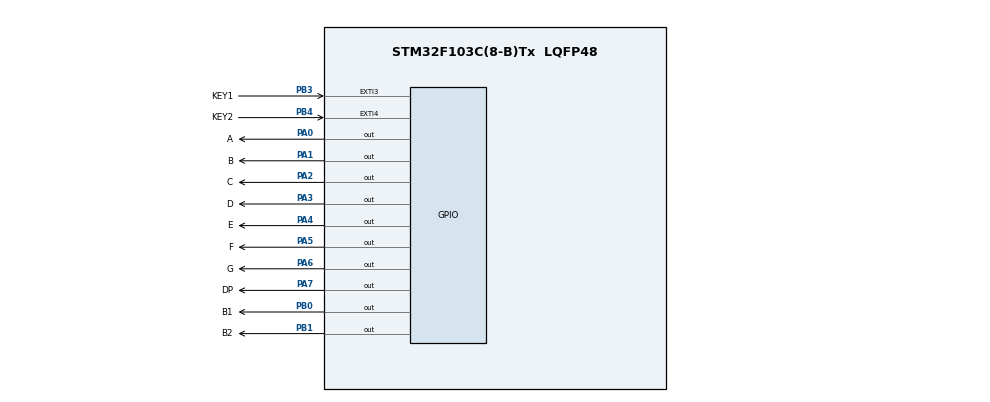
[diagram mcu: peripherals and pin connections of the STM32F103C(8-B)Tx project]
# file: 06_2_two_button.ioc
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Mcu.Family=STM32F1
Mcu.Name=STM32F103C(8-B)Tx
Mcu.Package=LQFP48
NVIC.EXTI3_IRQn=true\:5\:0\:false\:false\:true\:true\:true\:true
NVIC.EXTI4_IRQn=true\:5\:0\:false\:false\:true\:true\:true\:true
NVIC.PriorityGroup=NVIC_PRIORITYGROUP_4
NVIC.TIM2_IRQn=true\:0\:0\:false\:false\:true\:true\:true\:true
PA0-WKUP.GPIO_Label=A
PA0-WKUP.PinState=GPIO_PIN_SET
PA0-WKUP.Signal=GPIO_Output
PA1.GPIO_Label=B
PA1.PinState=GPIO_PIN_SET
PA1.Signal=GPIO_Output
PA2.GPIO_Label=C
PA2.PinState=GPIO_PIN_SET
PA2.Signal=GPIO_Output
PA3.GPIO_Label=D
PA3.PinState=GPIO_PIN_SET
PA3.Signal=GPIO_Output
PA4.GPIO_Label=E
PA4.PinState=GPIO_PIN_SET
PA4.Signal=GPIO_Output
PA5.GPIO_Label=F
PA5.PinState=GPIO_PIN_SET
PA5.Signal=GPIO_Output
PA6.GPIO_Label=G
PA6.PinState=GPIO_PIN_SET
PA6.Signal=GPIO_Output
PA7.GPIO_Label=DP
PA7.PinState=GPIO_PIN_SET
PA7.Signal=GPIO_Output
PB0.GPIO_Label=B1
PB0.PinState=GPIO_PIN_SET
PB0.Signal=GPIO_Output
PB1.GPIO_Label=B2
PB1.PinState=GPIO_PIN_SET
PB1.Signal=GPIO_Output
PB3.GPIO_Label=KEY1
PB3.GPIO_ModeDefaultEXTI=GPIO_MODE_IT_RISING_FALLING
PB3.GPIO_PuPd=GPIO_PULLUP
PB3.Signal=GPXTI3
PB4.GPIO_Label=KEY2
PB4.GPIO_ModeDefaultEXTI=GPIO_MODE_IT_RISING_FALLING
PB4.GPIO_PuPd=GPIO_PULLUP
PB4.Signal=GPXTI4
PC14-OSC32_IN.Mode=LSE-External-Oscillator
PC14-OSC32_IN.Signal=RCC_OSC32_IN
PC15-OSC32_OUT.Mode=LSE-External-Oscillator
PC15-OSC32_OUT.Signal=RCC_OSC32_OUT
PD0-OSC_IN.Mode=HSE-External-Oscillator
PD0-OSC_IN.Signal=RCC_OSC_IN
PD1-OSC_OUT.Mode=HSE-External-Oscillator
PD1-OSC_OUT.Signal=RCC_OSC_OUT
ProjectManager.HeapSize=0x200
ProjectManager.StackSize=0x400
ProjectManager.TargetToolchain=MDK-ARM V5.32
RCC.APB1Freq_Value=8000000
RCC.APB2Freq_Value=8000000
RCC.PLLMUL=RCC_PLL_MUL9
RCC.USBFreq_Value=36000000
TIM2.Period=99
TIM2.Prescaler=79
VP_SYS_VS_ND.Mode=No_Debug
VP_TIM2_VS_ClockSourceINT.Mode=Internal
board=custom

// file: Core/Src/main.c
/* USER CODE BEGIN Header */
/**
  ******************************************************************************
  * @file           : main.c
  * @brief          : Main program body
  ******************************************************************************
  * @attention
  *
  * Copyright (c) 2026 STMicroelectronics.
  * All rights reserved.
  *
  * This software is licensed under terms that can be found in the LICENSE file
  * in the root directory of this software component.
  * If no LICENSE file comes with this software, it is provided AS-IS.
  *
  ******************************************************************************
  */
/* USER CODE END Header */
#include "main.h" /* 引入 HAL 类型和本工程引脚定义。 */
#include "tim.h" /* 引入 TIM2 初始化函数和 htim2。 */
#include "gpio.h" /* 引入 GPIO 初始化函数。 */

/* USER CODE BEGIN Includes */
#include "display.h" /* 引入数码管刷新接口。 */
#include "button.h" /* 引入按键读取和消抖接口。 */

/* USER CODE END Includes */

void SystemClock_Config(void); /* 声明系统时钟配置函数。 */

int main(void) /* 程序入口，初始化硬件后循环处理按键和显示。 */
{

  /* MCU Configuration--------------------------------------------------------*/

  /* Reset of all peripherals, Initializes the Flash interface and the Systick. */
  HAL_Init(); /* 初始化 HAL 和系统毫秒时钟。 */

  /* Configure the system clock */
  SystemClock_Config(); /* 配置系统时钟为内部 8 MHz。 */

  /* Initialize all configured peripherals */
  MX_GPIO_Init(); /* 初始化数码管输出和两个按键的中断输入。 */
  MX_TIM2_Init(); /* 配置 TIM2 每 1 ms 产生更新中断。 */
  /* USER CODE BEGIN 2 */
  uint8_t number = 0; /* 当前显示数字，范围为 0 到 99，上电显示 00。 */
  uint8_t key; /* 本次按键编号：0 无按键，1 加一，2 减一。 */

  if (HAL_TIM_Base_Start_IT(&htim2) != HAL_OK) /* 启动 TIM2 的 1 ms 中断，用于显示刷新和按键消抖。 */
  {
    Error_Handler(); /* 如果定时器启动失败，进入错误处理。 */
  }
  /* USER CODE END 2 */

  /* Infinite loop */
  /* USER CODE BEGIN WHILE */
  while (1) /* 不断读取按键并处理数码管刷新。 */
  {
    key = buttonflag_get(); /* 取出并清除本次按键，防止同一次按下重复计数。 */

    if (key == 1) /* 按钮一按下一次，数字加一。 */
    {
      if (number == 99) /* 当前数字为 99 时，再加一需要回到 0。 */
      {
        number = 0; /* 实现 99 再加一显示 00。 */
      }
      else /* 当前数字为 0 到 98。 */
      {
        number++; /* 显示数字加一。 */
      }
    }
    else if (key == 2) /* 按钮二按下一次，数字减一。 */
    {
      if (number == 0) /* 当前数字为 0 时，再减一需要回到 99。 */
      {
        number = 99; /* 实现 00 再减一显示 99。 */
      }
      else /* 当前数字为 1 到 99。 */
      {
        number--; /* 显示数字减一。 */
      }
    }

    Display_Task(number); /* 显示模块按 TIM2 刷新标志交替显示十位和个位。 */
    /* USER CODE END WHILE */

  }
}

void SystemClock_Config(void) /* 设置芯片系统时钟和总线时钟。 */
{
  RCC_OscInitTypeDef RCC_OscInitStruct = {0}; /* 清零振荡器配置结构。 */
  RCC_ClkInitTypeDef RCC_ClkInitStruct = {0}; /* 清零总线时钟配置结构。 */

  /** Initializes the RCC Oscillators according to the specified parameters
  * in the RCC_OscInitTypeDef structure.
  */
  RCC_OscInitStruct.OscillatorType = RCC_OSCILLATORTYPE_HSI; /* 使用内部高速振荡器。 */
  RCC_OscInitStruct.HSIState = RCC_HSI_ON; /* 开启内部高速振荡器。 */
  RCC_OscInitStruct.HSICalibrationValue = RCC_HSICALIBRATION_DEFAULT; /* 使用默认 HSI 校准值。 */
  RCC_OscInitStruct.PLL.PLLState = RCC_PLL_NONE; /* 不使用 PLL 倍频。 */
  if (HAL_RCC_OscConfig(&RCC_OscInitStruct) != HAL_OK) /* 配置振荡器并检查是否成功。 */
  {
    Error_Handler(); /* 配置失败时进入错误处理。 */
  }

  /** Initializes the CPU, AHB and APB buses clocks
  */
  RCC_ClkInitStruct.ClockType = RCC_CLOCKTYPE_HCLK|RCC_CLOCKTYPE_SYSCLK
                              |RCC_CLOCKTYPE_PCLK1|RCC_CLOCKTYPE_PCLK2; /* 选择需要配置的系统、AHB 和两条 APB 时钟。 */
  RCC_ClkInitStruct.SYSCLKSource = RCC_SYSCLKSOURCE_HSI; /* 系统时钟来源选择 8 MHz HSI。 */
  RCC_ClkInitStruct.AHBCLKDivider = RCC_SYSCLK_DIV1; /* AHB 总线不分频。 */
  RCC_ClkInitStruct.APB1CLKDivider = RCC_HCLK_DIV1; /* APB1 和 TIM2 时钟保持 8 MHz。 */
  RCC_ClkInitStruct.APB2CLKDivider = RCC_HCLK_DIV1; /* APB2 总线不分频。 */

  if (HAL_RCC_ClockConfig(&RCC_ClkInitStruct, FLASH_LATENCY_0) != HAL_OK) /* 应用总线时钟配置并检查结果。 */
  {
    Error_Handler(); /* 配置失败时进入错误处理。 */
  }
}

/* USER CODE BEGIN 4 */
/* TIM2 每 1 ms 进入回调，完成按键消抖延时并请求显示刷新。 */
void HAL_TIM_PeriodElapsedCallback(TIM_HandleTypeDef *htim) /* 定时器更新中断回调，htim 指向触发中断的定时器。 */
{
  /* 只处理 TIM2 中断，不响应其他定时器。 */
  if (htim->Instance == TIM2) /* 仅处理本工程的 TIM2 更新中断。 */
  {
    Button_TimerTick(); /* 递减按键消抖时间，由中断完成延时。 */
    Display_TimerTick(); /* 请求数码管刷新一位，不改变 number。 */
  }
}
/* USER CODE END 4 */

void Error_Handler(void) /* 初始化失败时进入此函数。 */
{
  /* USER CODE BEGIN Error_Handler_Debug */
  /* User can add his own implementation to report the HAL error return state */
  __disable_irq(); /* 停止中断，避免失败后继续处理业务。 */
  while (1) /* 停在这里，便于定位初始化失败。 */
  {
  }
  /* USER CODE END Error_Handler_Debug */
}
